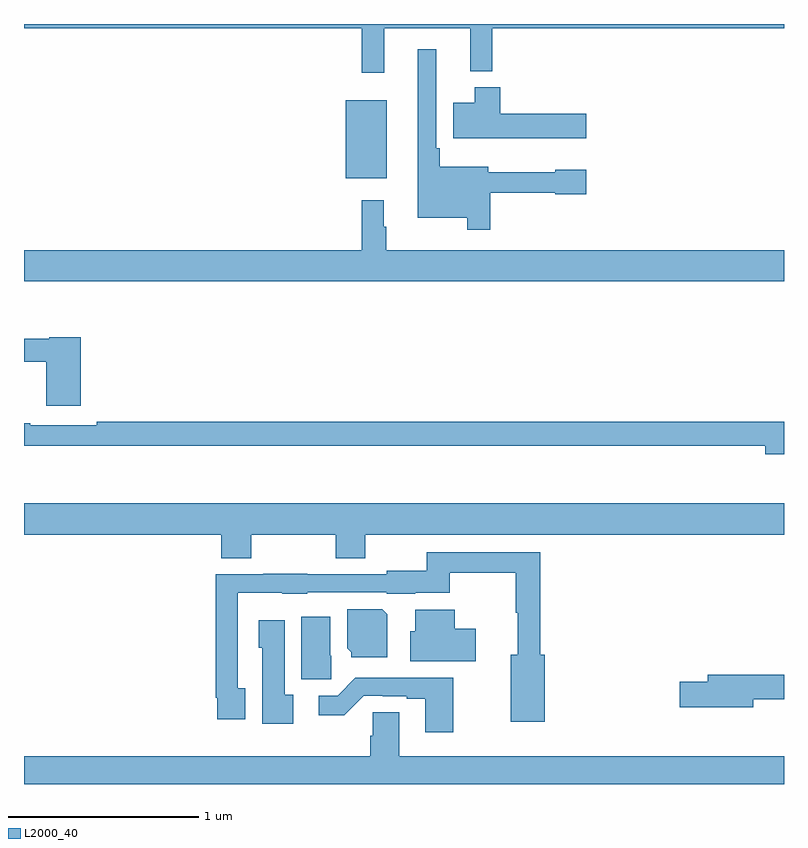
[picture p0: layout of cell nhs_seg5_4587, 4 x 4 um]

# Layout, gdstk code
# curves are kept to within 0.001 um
import gdstk
lib = gdstk.Library(unit=1e-6, precision=1e-09)
def R(c, l, rs):  # rectangles x0, y0, x1, y1
    for r in rs: c.add(gdstk.rectangle(r[:2], r[2:], *l))
def P(c, l, *ps):  # polygons
    for p in ps: c.add(gdstk.Polygon(p, *l))
L2000_40 = (2000, 40)

nhs_seg5_4587 = lib.new_cell('nhs_seg5_4587')
R(nhs_seg5_4587, L2000_40, [(382.694,839.987,382.909,840.397)])
P(nhs_seg5_4587, L2000_40, [(382.895,840.776),(383.348,840.776),(383.348,840.551),(383.465,840.551),(383.465,840.776),(385,840.776),(385,840.799),(381,840.799),(381,840.776),(382.777,840.776),(382.777,840.543),(382.895,840.543)],
  [(383.455,839.91),(383.796,839.91),(383.796,839.902),(383.959,839.902),(383.959,840.031),(383.796,840.031),(383.796,840.019),(383.443,840.019),(383.443,840.049),(383.189,840.049),(383.189,840.145),(383.169,840.145),(383.169,840.667),(383.072,840.667),(383.072,839.78),(383.334,839.78),(383.334,839.715),(383.455,839.715)],
  [(383.959,840.327),(383.507,840.327),(383.507,840.466),(383.372,840.466),(383.372,840.385),(383.258,840.385),(383.258,840.197),(383.959,840.197)],
  [(385,839.608),(382.906,839.608),(382.906,839.732),(382.894,839.732),(382.894,839.872),(382.777,839.872),(382.777,839.608),(381,839.608),(381,839.444),(385,839.444)],
  [(381.299,839.151),(381.132,839.151),(381.132,839.143),(381,839.143),(381,839.022),(381.116,839.022),(381.116,838.791),(381.299,838.791)],
  [(385,838.706),(381.382,838.706),(381.382,838.686),(381.032,838.686),(381.032,838.699),(381,838.699),(381,838.578),(384.902,838.578),(384.902,838.535),(385,838.535)],
  [(381,838.112),(382.037,838.112),(382.037,837.988),(382.197,837.988),(382.197,838.112),(382.642,838.112),(382.642,837.988),(382.797,837.988),(382.797,838.112),(385,838.112),(385,838.276),(381,838.276)],
  [(383.741,837.478),(383.717,837.478),(383.717,838.02),(383.121,838.02),(383.121,837.922),(382.908,837.922),(382.908,837.903),(382.491,837.903),(382.491,837.905),(382.259,837.905),(382.259,837.903),(382.009,837.903),(382.009,837.253),(382.017,837.253),(382.017,837.141),(382.165,837.141),(382.165,837.302),(382.125,837.302),(382.125,837.806),(382.359,837.806),(382.359,837.8),(382.491,837.8),(382.491,837.807),(382.908,837.807),(382.908,837.8),(383.058,837.8),(383.058,837.806),(383.242,837.806),(383.242,837.912),(383.589,837.912),(383.589,837.701),(383.599,837.701),(383.599,837.478),(383.563,837.478),(383.563,837.126),(383.741,837.126)],
  [(382.912,837.692),(382.886,837.718),(382.7,837.718),(382.7,837.514),(382.722,837.492),(382.722,837.467),(382.912,837.467)],
  [(383.377,837.615),(383.266,837.615),(383.266,837.716),(383.06,837.716),(383.06,837.603),(383.033,837.603),(383.033,837.446),(383.377,837.446)],
  [(382.616,837.474),(382.612,837.474),(382.612,837.679),(382.46,837.679),(382.46,837.351),(382.616,837.351)],
  [(382.417,837.27),(382.372,837.27),(382.372,837.661),(382.235,837.661),(382.235,837.516),(382.253,837.516),(382.253,837.116),(382.417,837.116)],
  [(384.838,837.246),(385,837.246),(385,837.374),(384.599,837.374),(384.599,837.338),(384.45,837.338),(384.45,837.203),(384.838,837.203)],
  [(383.259,837.357),(382.744,837.358),(382.65,837.264),(382.551,837.264),(382.551,837.162),(382.686,837.162),(382.788,837.264),(382.888,837.264),(382.888,837.261),(383.015,837.261),(383.015,837.249),(383.111,837.249),(383.111,837.072),(383.259,837.072)],
  [(385,836.944),(382.975,836.944),(382.975,837.176),(382.836,837.176),(382.836,837.054),(382.823,837.054),(382.823,836.944),(381,836.944),(381,836.799),(385,836.799)])

lib.write_gds('nhs_seg5_4587.gds')
